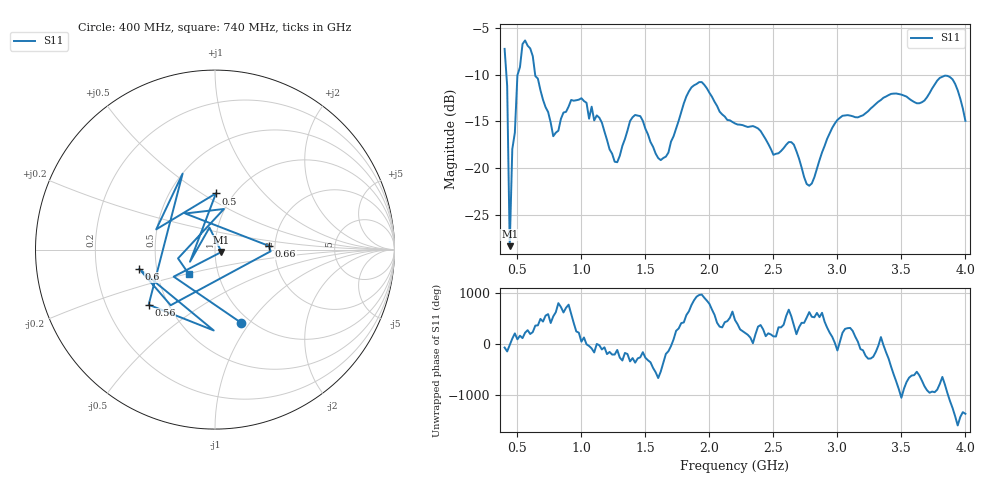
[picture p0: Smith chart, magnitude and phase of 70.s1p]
!Created with skrf (http://scikit-rf.org).
# Hz S RI R 50.0
!freq ReS11 ImS11
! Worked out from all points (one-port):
!   181 points, 400 MHz to 4 GHz, reference 50 ohm
!   lowest |S11| = -28.3 dB at 440 MHz (marker M1), VSWR 1.08, Z = 53.7 - j1.4 ohm
!   |S11| at or under -10 dB: 413.9 MHz to 501.9 MHz (88.08 MHz wide, 19.2 % of centre); 638.4 MHz to end of sweep
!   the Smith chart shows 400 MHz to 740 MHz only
!   S11 on the Smith chart (normalised r, x): 400 MHz: 0.91, -0.91; 500 MHz: 0.83, +0.58; 560 MHz: 0.39, -0.31; 600 MHz: 0.40, -0.11; 660 MHz: 1.85, +0.08; 740 MHz: 0.72, -0.20
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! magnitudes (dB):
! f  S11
! 400 MHz  -7.3
! 420 MHz  -11.2
! 440 MHz  -28.3
! 460 MHz  -18.0
! 480 MHz  -16.2
! 500 MHz  -10.1
! 560 MHz  -6.4
! 600 MHz  -7.2
! 660 MHz  -10.4
! 740 MHz  -14.0
! 780 MHz  -16.6
! 860 MHz  -14.1
! 1 GHz  -12.5
! 1.3 GHz  -18.7
! 1.42 GHz  -14.3
! 1.62 GHz  -19.1
! 1.76 GHz  -14.9
! 1.94 GHz  -10.8
! 2.2 GHz  -15.2
! 2.38 GHz  -15.8
! 2.5 GHz  -18.6
! 2.66 GHz  -17.5
! 2.78 GHz  -21.9
! 2.96 GHz  -15.7
! 3.1 GHz  -14.4
! 3.56 GHz  -12.6
! 3.86 GHz  -10.1
! 4 GHz  -14.9
